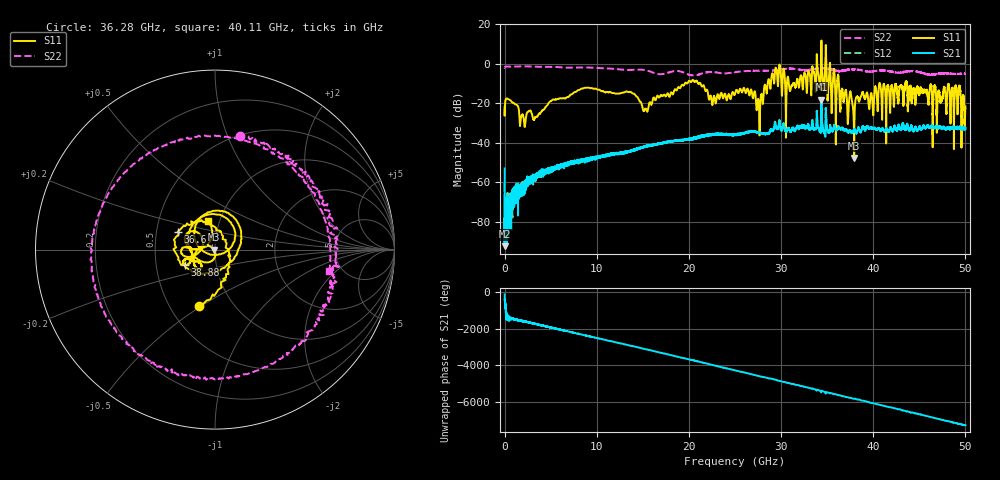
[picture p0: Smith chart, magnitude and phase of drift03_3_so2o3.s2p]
!Created with skrf (http://scikit-rf.org).
# Hz S RI R 50.0
!freq ReS11 ImS11 ReS21 ImS21 ReS12 ImS12 ReS22 ImS22
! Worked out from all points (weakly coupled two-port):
!   10001 points, 300 kHz to 50 GHz, reference 50 ohm
!   highest |S21| = -18.09 dB at 34.38 GHz (marker M1); lowest = -92.2 dB at 5.3 MHz (marker M2)
!   lowest |S11| = -47.6 dB at 37.93 GHz (marker M3), VSWR 1.01, Z = 49.6 - j0.104 ohm
!   |S11| at or under -10 dB: start of sweep to 19.56 GHz; 21.25 GHz to 28.55 GHz (7.295 GHz wide, 29.3 % of centre); 43.65 GHz to end of sweep (the widest 3 of 29)
!   |S22| runs from -6.0 to -1.3 dB; largest |S21 - S12| = 0.024
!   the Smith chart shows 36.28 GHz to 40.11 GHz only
!   S11 on the Smith chart (normalised r, x): 36.28 GHz: 0.69, -0.49; 36.6 GHz: 0.64, +0.13; 38.88 GHz: 0.70, -0.12; 40.11 GHz: 0.89, +0.29
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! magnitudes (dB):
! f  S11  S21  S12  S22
! 300 kHz  -21.8  -52.9  -60.7  -2.1
! 5.3 MHz  -26.3  -92.2  -75.4  -2.1
! 260.3 MHz  -17.6  -90.3  -72.1  -1.4
! 3.3 GHz  -27.3  -58.6  -57.4  -1.5
! 8.335 GHz  -12.6  -49.1  -48.7  -1.9
! 15.29 GHz  -22.8  -41.8  -41.8  -3.3
! 16.67 GHz  -16.5  -40.6  -40.6  -5.2
! 20.26 GHz  -9.2  -37.5  -37.9  -5.9
! 22.71 GHz  -16.5  -35.8  -35.6  -4.2
! 25 GHz  -15.3  -35.8  -36.0  -4.3
! 27.52 GHz  -17.8  -34.5  -34.6  -3.5
! 29.28 GHz  -8.8  -31.3  -30.9  -3.4
! 30.73 GHz  -6.6  -32.5  -32.7  -2.5
! 33.34 GHz  -7.4  -31.7  -31.6  -2.9
! 34.38 GHz  11.7  -18.1  -19.2  -2.3
! 36.28 GHz  -9.7  -32.5  -32.4  -3.8
! 36.6 GHz  -12.8  -32.4  -32.7  -3.7
! 37.93 GHz  -47.6  -33.2  -33.2  -2.8
! 38.88 GHz  -14.5  -31.5  -31.8  -3.5
! 40.11 GHz  -15.9  -32.5  -32.5  -3.8
! 41.67 GHz  -12.2  -34.3  -34.4  -3.7
! 50 GHz  -21.6  -32.2  -32.4  -5.0
